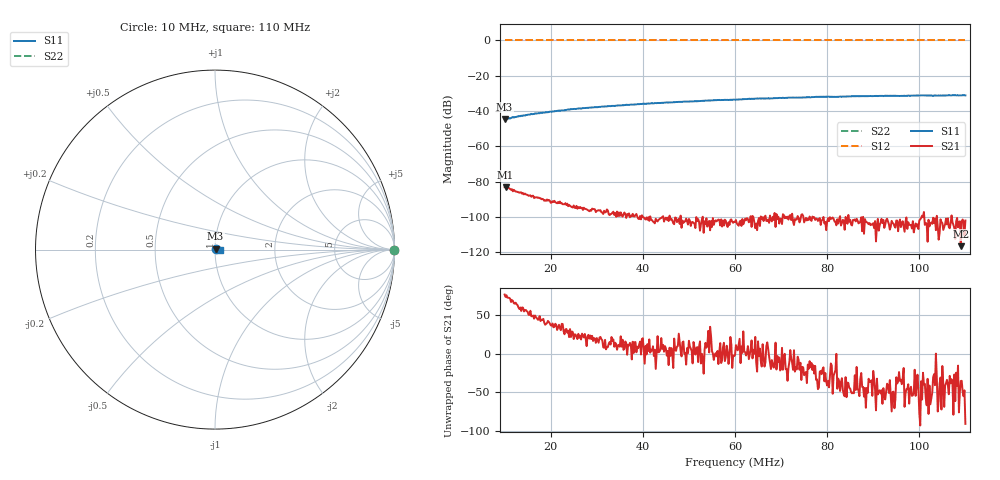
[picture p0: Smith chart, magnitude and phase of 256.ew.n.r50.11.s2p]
! Anritsu VNA Master:  Model: MS2036C/10/77
! SN:  1601066
! /card0/usr/256.ew.n.r50.11.s2p
! Existing Calibration Information:
! TYPE:  Current Settings,  Active Cal Settings
! TIME:  12/19/2017 02:57:51 PM,  12/19/2017 02:53:44 PM
! INTERNAL TEMP:  46.5 C,  46.3 C
! # POINTS:  501,  501
! START FREQ:  10.000 MHz,  10.000 MHz
! STOP FREQ:  110.000 MHz,  110.000 MHz
! SOURCE POWER:  High,  High
! IFBW:  100 Hz,  100 Hz
! AVG FACTOR:  1 ,  1
! REF PLANE 1:  0 mm,  0 mm
! REF PLANE 2:  0 mm,  0 mm
! CAL TYPE:  Full S11,  Full S11
! CAL METHOD:  SOLT,  SOLT
! CAL LINE TYPE:  Coax,  Coax
! DUT PORT 1:  N-Conn(F),  N-Conn(F)
! DUT PORT 2:  K-Conn(F),  K-Conn(F)
! CAL STATUS:  OK: Accuracy High,  --
# GHZ S DB R 50.0
! FREQ.GHZ  S11DB  S11A  S21DB  S21A  S12DB  S12A  S22DB  S22A
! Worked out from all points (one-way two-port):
!   501 points, 10 MHz to 110 MHz, reference 50 ohm
!   highest |S21| = -83.18 dB at 10.2 MHz (marker M1); lowest = -116.7 dB at 109 MHz (marker M2)
!   lowest |S11| = -44.6 dB at 10 MHz (marker M3), VSWR 1.01, Z = 50.3 + j0.52 ohm
!   |S11| at or under -10 dB: start of sweep to end of sweep
!   |S22| runs from 0.0 to 0.0 dB; largest |S21 - S12| = 1
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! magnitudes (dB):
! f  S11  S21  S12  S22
! 10 MHz  -44.6  -83.2  0.0  0.0
! 10.2 MHz  -44.4  -83.2  0.0  0.0
! 10.8 MHz  -44.4  -83.4  0.0  0.0
! 13.2 MHz  -42.8  -86.3  0.0  0.0
! 17 MHz  -41.3  -88.9  0.0  0.0
! 24.2 MHz  -39.1  -93.8  0.0  0.0
! 26.8 MHz  -38.4  -94.9  0.0  0.0
! 36.4 MHz  -36.5  -100.6  0.0  0.0
! 43.4 MHz  -35.5  -101.7  0.0  0.0
! 56.2 MHz  -33.8  -102.0  0.0  0.0
! 60 MHz  -33.6  -103.0  0.0  0.0
! 65 MHz  -33.0  -102.4  0.0  0.0
! 76.8 MHz  -32.1  -99.9  0.0  0.0
! 78.6 MHz  -32.0  -104.6  0.0  0.0
! 82 MHz  -32.0  -104.8  0.0  0.0
! 85.8 MHz  -31.6  -101.8  0.0  0.0
! 93.4 MHz  -31.4  -104.2  0.0  0.0
! 96 MHz  -31.4  -105.9  0.0  0.0
! 100.6 MHz  -31.1  -99.3  0.0  0.0
! 103.2 MHz  -31.2  -103.6  0.0  0.0
! 109 MHz  -31.1  -116.7  0.0  0.0
! 110 MHz  -31.1  -102.1  0.0  0.0
